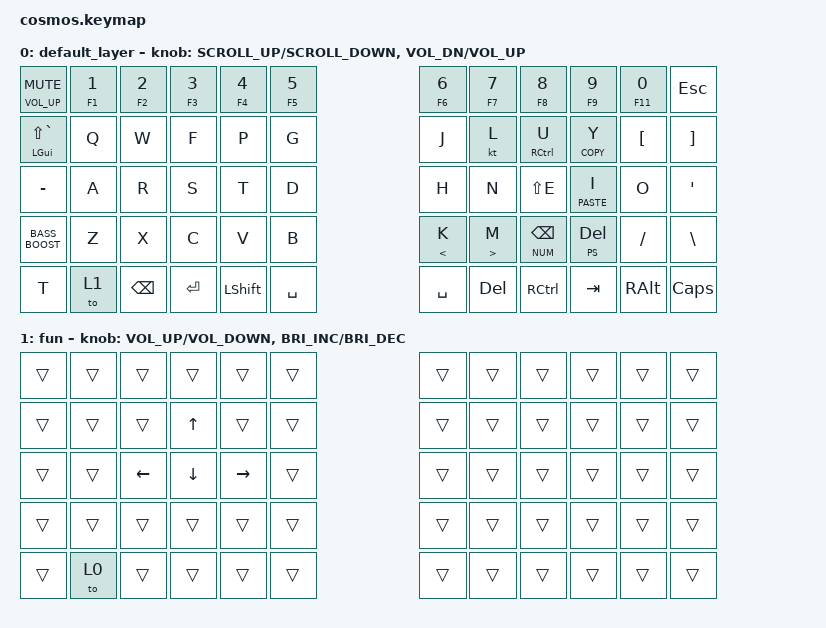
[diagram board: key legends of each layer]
/*
 * Copyright (c) 2020 The ZMK Contributors
 *
 * SPDX-License-Identifier: MIT
 */

#include <behaviors.dtsi>
#include <dt-bindings/zmk/keys.h>
#include <dt-bindings/zmk/keys.h>

#define BASE 0
#define fun 1

&mt {
    quick-tap-ms = <100>;
    require_prior_idle;
    flavor = "tap-preferred";
    tapping-term-ms = <180>;
};

/ {
    macros {
        degree_sym: degree_sym {
            compatible = "zmk,behavior-macro";
            #binding-cells = <0>;
            bindings =
                <&macro_tap_time 40>,
                <&macro_wait_time 40>,
                <&macro_press>,
                <&kp RALT>,
                <&macro_tap>,
                <&kp N2 &kp N4 &kp N8>,
                <&macro_pause_for_release>,
                <&macro_release>;

            tap-ms = <40>;
            wait-ms = <40>;
        };

        C_A_D: C_A_D {
            compatible = "zmk,behavior-macro";
            #binding-cells = <0>;
            bindings =
                <&macro_tap>,
                <&kp LA(LC(DEL))>,
                <&macro_pause_for_release>,
                <&macro_release>;

            tap-ms = <100>;
            wait-ms = <100>;
        };

        TM: TM {
            compatible = "zmk,behavior-macro";
            #binding-cells = <0>;
            bindings =
                <&macro_press>,
                <&kp RALT>,
                <&macro_tap>,
                <&kp N0 &kp N1 &kp N5 &kp N3>,
                <&macro_pause_for_release>,
                <&macro_release>;

            tap-ms = <40>;
            wait-ms = <40>;
        };

        CircleR: CircleR {
            compatible = "zmk,behavior-macro";
            #binding-cells = <0>;
            bindings =
                <&macro_press>,
                <&kp RALT>,
                <&macro_tap>,
                <&kp KP_N1 &kp KP_N6 &kp KP_N9>,
                <&macro_release>,
                <&macro_release>;

            tap-ms = <40>;
            wait-ms = <40>;
        };
    };
};

/ {
    combos {
        compatible = "zmk,combos";

        combo_capslock {
            bindings = <&caps_word>;
            key-positions = <13 16>;
            layers = <0>;
        };
    };
};

/ { /*
    behaviors {
        pht: positional_hold_tap {
            compatible = "zmk,behavior-hold-tap";
            #binding-cells = <2>;
            flavor = "hold-preferred";
            tapping-term-ms = <400>;
            quick-tap-ms = <200>;
            bindings = <&kp>, <&kp>;

            hold-trigger-key-positions = <1>;    // <---[[the W key]]
        };

        rpi: require_prior_idle {
            compatible = "zmk,behavior-hold-tap";
            #binding-cells = <2>;
            flavor = "tap-preferred";
            tapping-term-ms = <200>;
            quick-tap-ms = <125>;
            require-prior-idle-ms = <125>;
            bindings = <&kp>, <&kp>;
        };
    };*/

    keymap {
        compatible = "zmk,keymap";

        default_layer {
            //          ------------------------------------------------------------------------------------------------------------
            //          |quiet|!1 f1|@2 f2 |# 3 f3|$ 4 f4|% 5 f5|                                       | 6^ f6 |7&f7  |  8*f8 | 9f9   |0 f10 |   esc |
            //          |  ~` |  Q  |  W   |  F   |  P   |  G   |                                       | J     |  L   |  U    |  Y    |  klam| klam  |
            //          |  _- |  A  | R lef|S down| T ri |  D   |                                       | H     |  N   |  E    |  I    |  O   |   ' " |
            //          |macro|  z  |  x   |  C   |  V   |  B   |                                       | K <   |  M > |  =,   |  + .  |  /?  |   \|  |
            //                      | macro| Meta |  back| enter| Shft | space|          | space |  del | fn    |  tab |  Alt  |  ctrl |
            //                 

            bindings = <
&mt C_VOLUME_UP K_MUTE  &mt F1 NUMBER_1  &mt F2 NUMBER_2  &mt F3 NUMBER_3  &mt F4 NUMBER_4  &mt F5 NUMBER_5                                                    &mt F6 NUMBER_6  &mt F7 NUMBER_7     &mt F8 NUMBER_8  &mt F9 NUMBER_9  &mt F11 NUMBER_0  &kp ESC
&mt LGUI LS(GRAVE)      &kp Q            &kp W            &kp F            &kp P            &kp G                                                              &kp J            &kt L               &mt RCTRL U      &mt K_COPY Y     &kp LEFT_BRACKET  &kp RIGHT_BRACKET
&kp MINUS               &kp A            &kp R            &kp S            &kp T            &kp D                                                              &kp H            &kp N               &kp LS(E)        &mt K_PASTE I    &kp O             &kp SQT
&kp C_BASS_BOOST        &kp Z            &kp X            &kp C            &kp V            &kp B                                                              &mt LESS_THAN K  &mt GREATER_THAN M  &lt NUM BSPC     &lt PS DEL       &kp SLASH         &kp BSLH
                                         &kp T            &to 1            &kp BACKSPACE    &kp ENTER        &kp LEFT_SHIFT   &kp SPACE &kp SPACE  &kp DELETE  &kp RCTRL        &kp TAB             &kp RIGHT_ALT    &kp CAPSLOCK
            >;

            sensor-bindings =
                <&inc_dec_kp K_SCROLL_UP K_SCROLL_DOWN>,
                <&inc_dec_kp C_VOL_DN C_VOL_UP>;
        };

        fun {
            bindings = <
&trans  &trans  &trans          &trans          &trans           &trans                                         &trans  &trans  &trans  &trans  &trans  &trans
&trans  &trans  &trans          &kp UP_ARROW    &trans           &trans                                         &trans  &trans  &trans  &trans  &trans  &trans
&trans  &trans  &kp LEFT_ARROW  &kp DOWN_ARROW  &kp RIGHT_ARROW  &trans                                         &trans  &trans  &trans  &trans  &trans  &trans
&trans  &trans  &trans          &trans          &trans           &trans                                         &trans  &trans  &trans  &trans  &trans  &trans
                &trans          &to 0           &trans           &trans   &trans  &trans        &trans  &trans  &trans  &trans  &trans  &trans
            >;

            sensor-bindings =
                <&inc_dec_kp C_VOLUME_UP K_VOLUME_DOWN>,
                <&inc_dec_kp C_BRIGHTNESS_INC C_BRIGHTNESS_DEC>;
        };

    };
};
